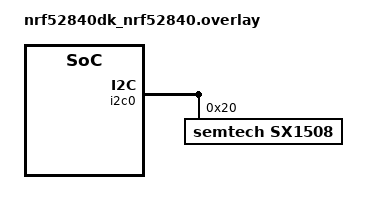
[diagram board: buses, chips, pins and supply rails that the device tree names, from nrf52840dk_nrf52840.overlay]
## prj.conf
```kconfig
#
# Copyright (c) 2020 Nordic Semiconductor ASA
#
# SPDX-License-Identifier: Apache-2.0
#

CONFIG_LOG=y
CONFIG_USE_SEGGER_RTT=y
CONFIG_LOG_MODE_MINIMAL=n

CONFIG_I2C=y

CONFIG_GPIO_SX1509B_INTERRUPT=y

CONFIG_CLOCK_CONTROL_NRF_K32SRC_RC=y
CONFIG_CLOCK_CONTROL_NRF_K32SRC_XTAL=n
CONFIG_CLOCK_CONTROL_NRF_K32SRC_250PPM=y
```

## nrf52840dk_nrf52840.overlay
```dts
/*
 * Copyright (c) 2019 Henrik Brix Andersen <henrik@brixandersen.dk>
 *
 * SPDX-License-Identifier: Apache-2.0
 */

 &i2c0 {
    status = "okay";
	sx1508: sx1508@20 {
		compatible = "semtech,sx1508";
		reg = <0x20>;
                /* Uncomment to use IRQ instead of polling: */
		/* irq-gpios = <&gpio1 8 (GPIO_PULL_UP | GPIO_ACTIVE_LOW)>; */

	};
};
```

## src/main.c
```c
/*
 * Copyright (c) 2019 Intel Corporation
 *
 * SPDX-License-Identifier: Apache-2.0
 */

#include <zephyr/kernel.h>
#include <zephyr/sys/printk.h>
#include <zephyr/drivers/gpio.h>
#include <soc.h>
#include <zephyr/drivers/kscan.h>
#include <zephyr/drivers/kscan_sx1508.h>

#define LOG_LEVEL LOG_LEVEL_DBG
#include <zephyr/logging/log.h>

LOG_MODULE_REGISTER(main, CONFIG_LOG_DEFAULT_LEVEL);

#define I2C0_NODE DT_NODELABEL(sx1509b)


static void keyscan_callback(const struct device *dev, uint32_t row,
			     uint32_t column, bool pressed)
{
	printk("button pressed");
} 

int main(void)
{
       const struct device *const dev = DEVICE_DT_GET(KEY_NODE);
    
    if (!device_is_ready(key)) {
		LOG_ERR("Keyscan device not ready");
		return 0;
	}

    err = kscan_config(key, keyscan_callback);
	if (err) {
		LOG_ERR("Failed to add keyscan callback (err %d)", err);
	}

    return 0;
}
```
